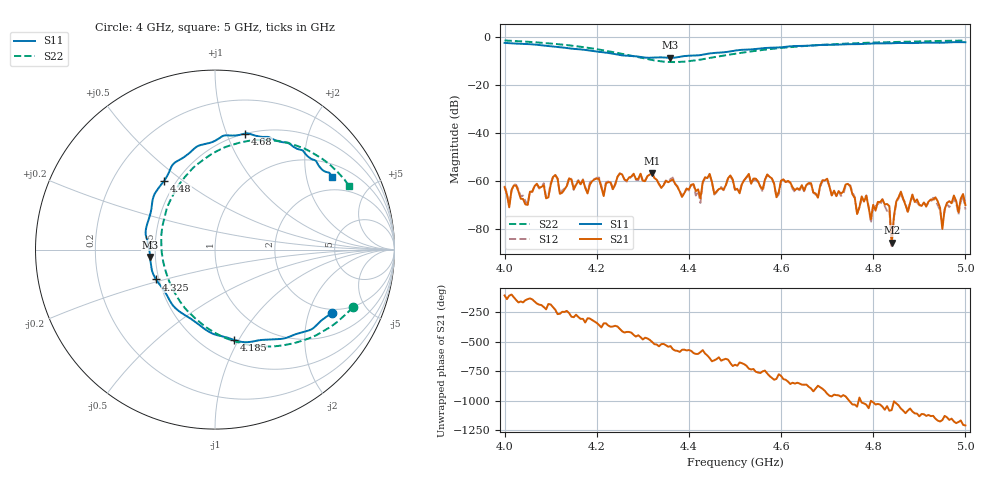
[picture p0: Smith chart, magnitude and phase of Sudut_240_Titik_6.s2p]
# Hz S RI R 50
! CMT, C1220, 16058040, 17.2.0/1
! Date: 15/08/2018 12:12:48
! Data: Format (Calibration Info)
! Freq  S11: Re/Im (F2)  S21: Re/Im (F2)  S12: Re/Im (F2)  S22: Re/Im (F2)
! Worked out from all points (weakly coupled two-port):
!   201 points, 4 GHz to 5 GHz, reference 50 ohm
!   highest |S21| = -56.65 dB at 4.32 GHz (marker M1); lowest = -85.4 dB at 4.84 GHz (marker M2)
!   lowest |S11| = -8.8 dB at 4.36 GHz (marker M3), VSWR 2.14, Z = 23.4 - j2.23 ohm
!   |S11| at or under -10 dB: nowhere
!   |S22| runs from -10.6 to -1.6 dB; largest |S21 - S12| = 0.00012
!   S11 on the Smith chart (normalised r, x): 4 GHz: 1.82, -2.85; 4.185 GHz: 0.70, -0.95; 4.325 GHz: 0.48, -0.19; 4.48 GHz: 0.43, +0.43; 4.68 GHz: 0.50, +1.16; 5 GHz: 1.46, +2.83
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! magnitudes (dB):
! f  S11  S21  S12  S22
! 4 GHz  -2.6  -62.5  -61.8  -1.6
! 4.05 GHz  -3.1  -69.8  -69.7  -2.1
! 4.17 GHz  -5.4  -59.5  -59.2  -4.3
! 4.185 GHz  -5.8  -61.4  -60.6  -4.8
! 4.32 GHz  -8.7  -56.6  -56.7  -9.7
! 4.325 GHz  -8.7  -58.6  -58.6  -9.9
! 4.335 GHz  -8.6  -61.1  -61.4  -10.2
! 4.36 GHz  -8.8  -59.8  -59.1  -10.6
! 4.425 GHz  -7.7  -67.1  -69.0  -9.6
! 4.435 GHz  -7.3  -58.3  -58.8  -9.2
! 4.48 GHz  -6.4  -61.6  -61.9  -7.7
! 4.5 GHz  -5.8  -63.5  -63.7  -7.1
! 4.67 GHz  -3.6  -64.6  -64.8  -3.7
! 4.68 GHz  -3.5  -66.8  -66.5  -3.5
! 4.7 GHz  -3.4  -59.0  -59.6  -3.3
! 4.835 GHz  -2.8  -70.3  -71.7  -2.3
! 4.84 GHz  -2.8  -85.4  -86.9  -2.2
! 4.86 GHz  -2.6  -64.3  -65.0  -2.1
! 4.935 GHz  -2.6  -66.7  -67.9  -1.8
! 4.95 GHz  -2.5  -79.8  -77.8  -1.8
! 4.975 GHz  -2.3  -65.9  -67.5  -1.7
! 5 GHz  -2.3  -69.9  -71.7  -1.6
